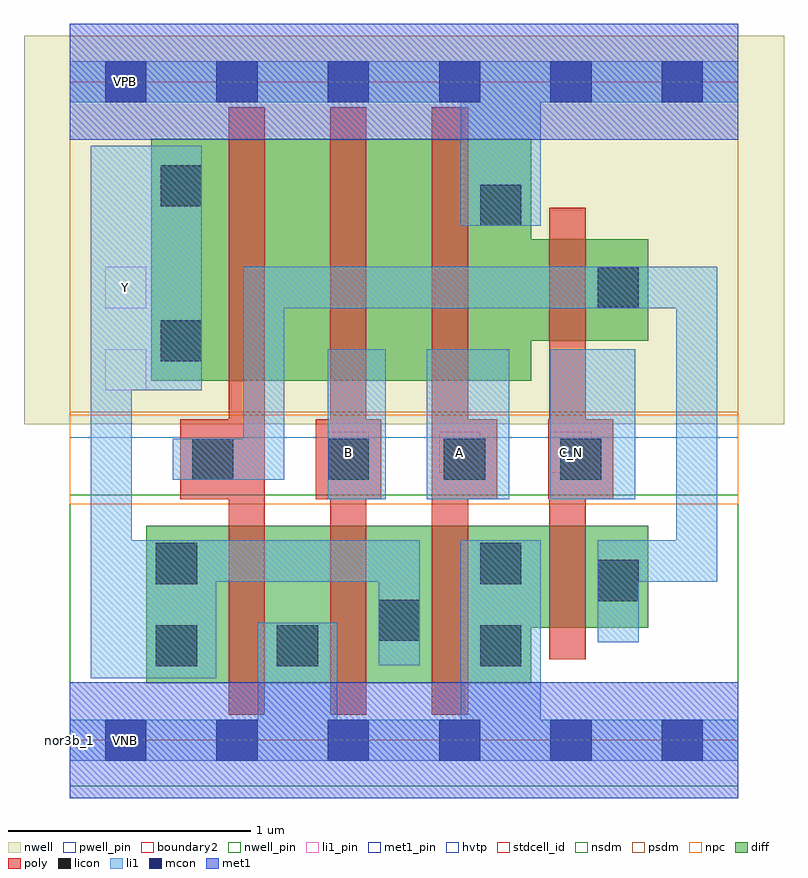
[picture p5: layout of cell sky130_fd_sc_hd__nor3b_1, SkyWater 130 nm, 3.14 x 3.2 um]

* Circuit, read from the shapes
.subckt sky130_fd_sc_hd__nor3b_1 A B C_N VGND VNB VPB VPWR Y
XM1 VGND n1 Y VNB sky130_fd_pr__nfet_01v8 w=0.65 l=0.15
XM2 Y B VGND VNB sky130_fd_pr__nfet_01v8 w=0.65 l=0.15
XM3 VGND A Y VNB sky130_fd_pr__nfet_01v8 w=0.65 l=0.15
XM4 n1 C_N VGND VNB sky130_fd_pr__nfet_01v8 w=0.42 l=0.15
XM5 n2 n1 Y VPB sky130_fd_pr__pfet_01v8_hvt w=1 l=0.15
XM6 n3 B n2 VPB sky130_fd_pr__pfet_01v8_hvt w=1 l=0.15
XM7 VPWR A n3 VPB sky130_fd_pr__pfet_01v8_hvt w=1 l=0.15
XM8 n1 C_N VPWR VPB sky130_fd_pr__pfet_01v8_hvt w=0.42 l=0.15
.ends

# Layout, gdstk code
import gdstk
lib = gdstk.Library(unit=1e-6, precision=1e-09)
def R(c, l, rs):  # rectangles x0, y0, x1, y1
    for r in rs: c.add(gdstk.rectangle(r[:2], r[2:], *l))
def A(c, l, x, y, w, h, nx, ny, dx, dy):  # array of equal rectangles
    R(c, l, [(x+i*dx, y+j*dy, x+i*dx+w, y+j*dy+h) for i in range(nx) for j in range(ny)])
def P(c, l, *ps):  # polygons
    for p in ps: c.add(gdstk.Polygon(p, *l))
nwell_pin = (64, 16)
nwell = (64, 20)
diff = (65, 20)
poly = (66, 20)
licon = (66, 44)
li1_pin = (67, 16)
li1 = (67, 20)
mcon = (67, 44)
met1_pin = (68, 16)
met1 = (68, 20)
hvtp = (78, 44)
stdcell_id = (81, 4)
nsdm = (93, 44)
psdm = (94, 20)
npc = (95, 20)
pwell_pin = (122, 16)
boundary2 = (236, 0)

sky130_fd_sc_hd__nor3b_1 = lib.new_cell('sky130_fd_sc_hd__nor3b_1')
R(sky130_fd_sc_hd__nor3b_1, nwell_pin, [(0.145,2.635,0.315,2.805)])
R(sky130_fd_sc_hd__nor3b_1, nwell, [(-0.19,1.305,2.95,2.91)])
P(sky130_fd_sc_hd__nor3b_1, diff, [(2.39,2.07),(1.905,2.07),(1.905,2.485),(0.335,2.485),(0.335,1.485),(1.905,1.485),(1.905,1.65),(2.39,1.65)],
  [(2.39,0.885),(0.315,0.885),(0.315,0.235),(1.905,0.235),(1.905,0.465),(2.39,0.465)])
P(sky130_fd_sc_hd__nor3b_1, poly, [(0.805,2.615),(0.655,2.615),(0.655,1.325),(0.455,1.325),(0.455,0.995),(0.655,0.995),(0.655,0.105),(0.805,0.105)],
  [(1.285,1.325),(1.225,1.325),(1.225,2.615),(1.075,2.615),(1.075,1.325),(1.015,1.325),(1.015,0.995),(1.075,0.995),(1.075,0.105),(1.225,0.105),(1.225,0.995),(1.285,0.995)],
  [(1.765,1.325),(1.645,1.325),(1.645,2.615),(1.495,2.615),(1.495,0.105),(1.645,0.105),(1.645,0.995),(1.765,0.995)],
  [(2.245,1.325),(2.13,1.325),(2.13,2.2),(1.98,2.2),(1.98,1.325),(1.975,1.325),(1.975,0.995),(1.98,0.995),(1.98,0.335),(2.13,0.335),(2.13,0.995),(2.245,0.995)])
A(sky130_fd_sc_hd__nor3b_1, licon, 1.065, 1.075, 0.17, 0.17, 3, 1, 0.48, 0)
R(sky130_fd_sc_hd__nor3b_1, licon, [(0.355,0.305,0.525,0.475), (0.855,0.305,1.025,0.475), (1.695,0.305,1.865,0.475), (1.275,0.41,1.445,0.58), (2.18,0.575,2.35,0.745), (0.355,0.645,0.525,0.815), (1.695,0.645,1.865,0.815), (0.505,1.075,0.675,1.245), (0.375,1.565,0.545,1.735), (2.18,1.785,2.35,1.955), (1.695,2.125,1.865,2.295), (0.375,2.205,0.545,2.375)])
A(sky130_fd_sc_hd__nor3b_1, li1_pin, 1.065, 1.105, 0.17, 0.17, 3, 1, 0.46, 0)
R(sky130_fd_sc_hd__nor3b_1, li1_pin, [(0.145,1.445,0.315,1.615), (0.145,1.785,0.315,1.955)])
R(sky130_fd_sc_hd__nor3b_1, li1, [(1.065,0.995,1.305,1.615), (1.475,0.995,1.815,1.615), (1.985,0.995,2.335,1.615)])
P(sky130_fd_sc_hd__nor3b_1, li1, [(2.76,0.085),(1.945,0.085),(1.945,0.825),(1.615,0.825),(1.615,0.085),(1.105,0.085),(1.105,0.485),(0.775,0.485),(0.775,0.085),(0,0.085),(0,-0.085),(2.76,-0.085)],
  [(2.76,2.805),(0,2.805),(0,2.635),(1.615,2.635),(1.615,2.125),(1.945,2.125),(1.945,2.635),(2.76,2.635)],
  [(1.445,0.825),(0.255,0.825),(0.255,1.445),(0.545,1.445),(0.545,2.455),(0.085,2.455),(0.085,0.255),(0.605,0.255),(0.605,0.655),(1.275,0.655),(1.275,0.31),(1.445,0.31)],
  [(2.675,1.955),(0.715,1.955),(0.715,1.245),(0.425,1.245),(0.425,1.075),(0.885,1.075),(0.885,1.785),(2.505,1.785),(2.505,0.825),(2.18,0.825),(2.18,0.405),(2.35,0.405),(2.35,0.655),(2.675,0.655)])
A(sky130_fd_sc_hd__nor3b_1, mcon, 0.145, -0.085, 0.17, 0.17, 6, 2, 0.46, 2.72)
R(sky130_fd_sc_hd__nor3b_1, met1_pin, [(0.145,-0.085,0.315,0.085), (0.145,2.635,0.315,2.805)])
R(sky130_fd_sc_hd__nor3b_1, hvtp, [(0,1.25,2.76,2.72)])
R(sky130_fd_sc_hd__nor3b_1, stdcell_id, [(0,0,2.76,2.72)])
R(sky130_fd_sc_hd__nor3b_1, nsdm, [(0,-0.19,2.76,1.015)])
R(sky130_fd_sc_hd__nor3b_1, psdm, [(0,1.355,2.76,2.91)])
R(sky130_fd_sc_hd__nor3b_1, npc, [(0,0.975,2.76,1.345)])
R(sky130_fd_sc_hd__nor3b_1, pwell_pin, [(0.145,-0.085,0.315,0.085)])
R(sky130_fd_sc_hd__nor3b_1, boundary2, [(0,0,2.76,2.72)])
sky130_fd_sc_hd__nor3b_1.add(gdstk.FlexPath([(0,2.72),(2.76,2.72)], 0.48, ends="flush", simple_path=True, layer=68, datatype=20))  # met1
sky130_fd_sc_hd__nor3b_1.add(gdstk.FlexPath([(0,0),(2.76,0)], 0.48, ends="flush", simple_path=True, layer=68, datatype=20))  # met1
sky130_fd_sc_hd__nor3b_1.add(gdstk.Label('C_N', (2.07,1.19), layer=67, texttype=5))
sky130_fd_sc_hd__nor3b_1.add(gdstk.Label('Y', (0.23,1.87), layer=67, texttype=5))
sky130_fd_sc_hd__nor3b_1.add(gdstk.Label('A', (1.61,1.19), layer=67, texttype=5))
sky130_fd_sc_hd__nor3b_1.add(gdstk.Label('B', (1.15,1.19), layer=67, texttype=5))
sky130_fd_sc_hd__nor3b_1.add(gdstk.Label('VPB', (0.23,2.72), layer=64, texttype=5))
sky130_fd_sc_hd__nor3b_1.add(gdstk.Label('VNB', (0.23,0), layer=64, texttype=59))
sky130_fd_sc_hd__nor3b_1.add(gdstk.Label('VGND', (0.23,0), layer=68, texttype=5))
sky130_fd_sc_hd__nor3b_1.add(gdstk.Label('VPWR', (0.23,2.72), layer=68, texttype=5))
sky130_fd_sc_hd__nor3b_1.add(gdstk.Label('nor3b_1', (0,0), layer=83, texttype=44))

lib.write_gds('sky130_fd_sc_hd__nor3b_1.gds')
